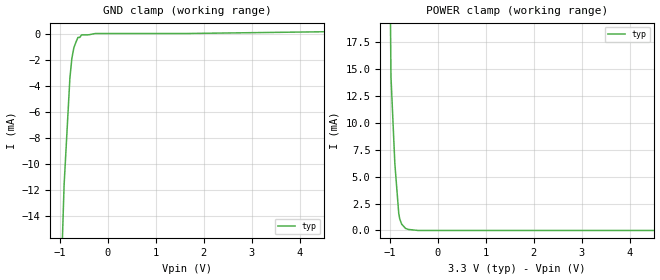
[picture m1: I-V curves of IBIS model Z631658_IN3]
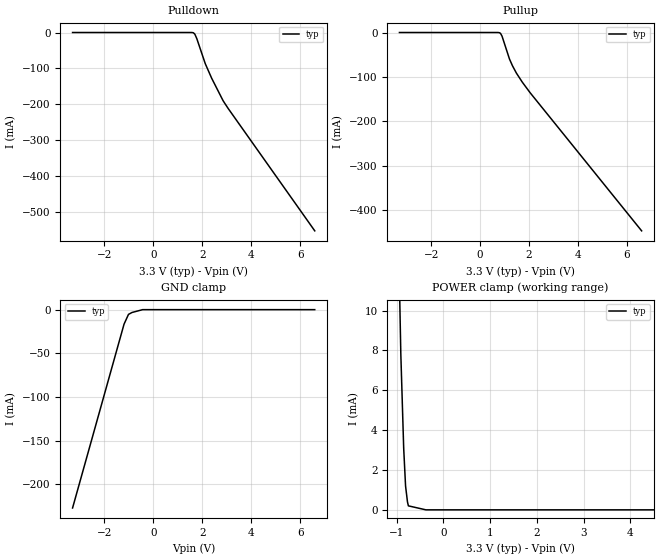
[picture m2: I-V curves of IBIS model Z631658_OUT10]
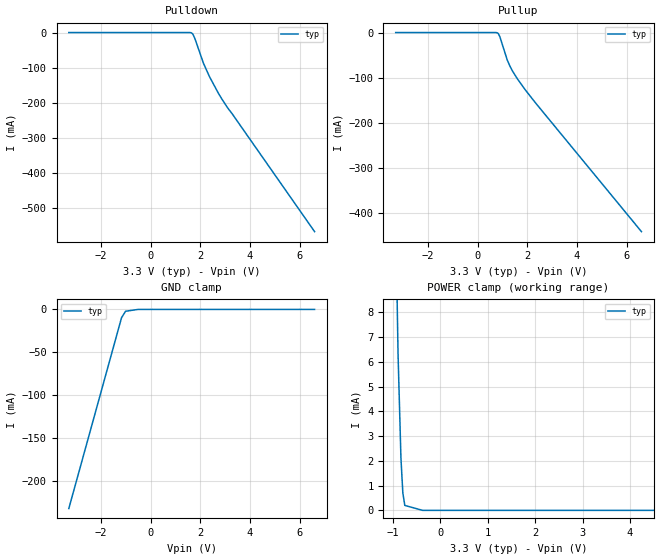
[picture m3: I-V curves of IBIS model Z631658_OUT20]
| YOU ARE ONLY AUTHORIZED TO USE THIS SOFTWARE
| ACCORDING TO LICENSOR'S LICENSE RESTRICTIONS.
[IBIS Ver] 3.1
[File Name] mc100lve210fn_33.ibs
[File Rev] 2.0
[Source] Measured and created by ICX Technology
[Date] Wednesday 11/22/00 2:13:51 PM
[Copyright]
| (C) COPYRIGHT 1993-2000
| MENTOR GRAPHICS CORPORATION
| ICX STANDARD LIBRARY, ICX PROJECT MODELING,
| ICX CUSTOM MODELING, ICX VENDOR MODEL
| ALL RIGHTS RESERVED.
| THE FOLLOWING ARE TRADEMARKS OR SERVICE MARKS OF
| MENTOR GRAPHICS CORPORATION:ICX (R), ICX STANDARD
| LIBRARY(R), ICX PROJECT MODELING(R), ICX CUSTOM
| MODELING(R), qualityIBIS(TM), MODELVIEWER(TM),
| AND MODELEDITOR(TM)
| ALL COPIES OF SOFTWARE, INCLUDING BUT NOT LIMITED TO
| ANY MODIFICATIONS, ENHANCEMENTS OR DERIVATIVE WORKS,
| MUST CONTAIN ALL MENTOR GRAPHICS CORPORATION'S
| NOTICES AND LEGENDS, INCLUDING THOSE EMBEDDED IN
| SOFTWARE AND THOSE AFFIXED TO SOFTWARE MEDIUM
| AND CONTAINER, AS RECEIVED FROM MENTOR GRAPHICS
| CORPORATION.
|  ZAP Model Builder 2.8
[Component] MC100LVE210FN_33
[Manufacturer] OnSemiconductor
[Package]
| variable   typ   min   max
R_pkg  .083ohms NA NA
L_pkg  4.299nH NA NA
C_pkg  1.045pF NA NA
[Pin] signal_name  model_name  R_pin  L_pin C_pin
1 VCC POWER .08 3.94n .925p
2 _CLKA Z631658_IN3 .082 4.14n .995p
3 CLKB Z631658_IN3 .084 4.354n 1.065p
4 _CLKB Z631658_IN3 .086 4.583n 1.135p
5 _QB4 Z631658_OUT10 .086 4.583n 1.135p
6 QB4 Z631658_OUT10 .084 4.354n 1.065p
7 _QB3 Z631658_OUT10 .082 4.14n .995p
8 VCCO POWER .08 3.94n .925p
9 QB3 Z631658_OUT10 .082 4.14n .995p
10 _QB2 Z631658_OUT10 .084 4.354n 1.065p
11 QB2 Z631658_OUT10 .086 4.583n 1.135p
12 _QB1 Z631658_OUT10 .086 4.583n 1.135p
13 QB1 Z631658_OUT10 .084 4.354n 1.065p
14 _QB0 Z631658_OUT10 .082 4.14n .995p
15 VCCO POWER .08 3.94n .925p
16 QB0 Z631658_OUT10 .082 4.14n .995p
17 _QA3 Z631658_OUT20 .084 4.354n 1.065p
18 QA3 Z631658_OUT20 .086 4.583n 1.135p
19 _QA2 Z631658_OUT20 .086 4.583n 1.135p
20 QA2 Z631658_OUT20 .084 4.354n 1.065p
21 _QA1 Z631658_OUT20 .082 4.14n .995p
22 VCCO POWER .08 3.94n .925p
23 QA1 Z631658_OUT20 .082 4.14n .995p
24 _QA0 Z631658_OUT20 .084 4.354n 1.065p
25 QA0 Z631658_OUT20 .086 4.583n 1.135p
26 VEE POWER .086 4.583n 1.135p
27 VBB POWER .084 4.354n 1.065p
28 CLKA Z631658_IN3 .082 4.14n .995p
[Diff Pin] inv_pin vdiff tdelay_typ tdelay_min tdelay_max
11 10 NA .05ns NA .075ns
13 12 NA .05ns NA .075ns
16 14 NA .05ns NA .075ns
18 17 NA .05ns NA .075ns
20 19 NA .05ns NA .075ns
23 21 NA .05ns NA .075ns
25 24 NA .05ns NA .075ns
28 2 500mv NA NA NA
4 3 500mv NA NA NA
6 5 NA .05ns NA .075ns
9 7 NA .05ns NA .075ns
| Models and submodels in the file (3): Z631658_IN3 (Input_ECL), Z631658_OUT10 (Output_ECL), Z631658_OUT20 (Output_ECL)
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| (C) COPYRIGHT 1993-2000
| MENTOR GRAPHICS CORPORATION
| ICX STANDARD LIBRARY, ICX PROJECT MODELING,
| ICX CUSTOM MODELING, ICX VENDOR MODEL
| ALL RIGHTS RESERVED.
| THE FOLLOWING ARE TRADEMARKS OR SERVICE MARKS OF
| MENTOR GRAPHICS CORPORATION:ICX (R), ICX STANDARD
| LIBRARY(R), ICX PROJECT MODELING(R), ICX CUSTOM
| MODELING(R), qualityIBIS(TM), MODELVIEWER(TM),
| AND MODELEDITOR(TM)
| ALL COPIES OF SOFTWARE, INCLUDING BUT NOT LIMITED TO
| ANY MODIFICATIONS, ENHANCEMENTS OR DERIVATIVE WORKS,
| MUST CONTAIN ALL MENTOR GRAPHICS CORPORATION'S
| NOTICES AND LEGENDS, INCLUDING THOSE EMBEDDED IN
| SOFTWARE AND THOSE AFFIXED TO SOFTWARE MEDIUM
| AND CONTAINER, AS RECEIVED FROM MENTOR GRAPHICS
| CORPORATION.
| Model Application Version 1.89 2/18/99.
[Model] Z631658_IN3
Model_type Input_ECL
Vinl = 1.825V
Vinh = 2.135V
C_comp 3.000pF NA NA
| variable typ   min   max
[Voltage Range] 3.300V NA NA
[GND Clamp Reference] 0.000V NA NA
[POWER Clamp Reference] 3.300V NA NA
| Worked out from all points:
|   GND clamp passes 1 mA (typ) near -0.70 V on its own axis
|   POWER clamp passes 1 mA (typ) near -0.79 V on its own axis
[GND Clamp]
-3.3V     -370.8mA   NA         NA
-1.034V   -25.9mA    NA         NA
-912mV    -11.6mA    NA         NA
-791mV    -3.4mA     NA         NA
-750mV    -1.9mA     NA         NA
-709mV    -1.1mA     NA         NA
-669mV    -700uA     NA         NA
-623.3mV  -300uA     NA         NA
-585.2mV  -300uA     NA         NA
-547.2mV  -100uA     NA         NA
-258.5mV  0A         NA         NA
6.6V      233uA      NA         NA
[POWER Clamp]
-3.3V     954.5mA    NA         NA
-1.098V   73.77mA    NA         NA
-977mV    14.28mA    NA         NA
-896mV    6.18mA     NA         NA
-815mV    1.584mA    NA         NA
-795mV    1.085mA    NA         NA
-754mV    586.7uA    NA         NA
-673mV    190.5uA    NA         NA
-612mV    93.33uA    NA         NA
-408mV    0A         NA         NA
6.6V      0A         NA         NA
| (C) COPYRIGHT 1993-2000
| MENTOR GRAPHICS CORPORATION
| ICX STANDARD LIBRARY, ICX PROJECT MODELING,
| ICX CUSTOM MODELING, ICX VENDOR MODEL
| ALL RIGHTS RESERVED.
| THE FOLLOWING ARE TRADEMARKS OR SERVICE MARKS OF
| MENTOR GRAPHICS CORPORATION:ICX (R), ICX STANDARD
| LIBRARY(R), ICX PROJECT MODELING(R), ICX CUSTOM
| MODELING(R), qualityIBIS(TM), MODELVIEWER(TM),
| AND MODELEDITOR(TM)
| ALL COPIES OF SOFTWARE, INCLUDING BUT NOT LIMITED TO
| ANY MODIFICATIONS, ENHANCEMENTS OR DERIVATIVE WORKS,
| MUST CONTAIN ALL MENTOR GRAPHICS CORPORATION'S
| NOTICES AND LEGENDS, INCLUDING THOSE EMBEDDED IN
| SOFTWARE AND THOSE AFFIXED TO SOFTWARE MEDIUM
| AND CONTAINER, AS RECEIVED FROM MENTOR GRAPHICS
| CORPORATION.
| Model Application Version 1.89 2/18/99.
[Model] Z631658_OUT10
Model_type Output_ECL
Vref=1.300V
Rref=50.00ohms
Cref=0.000F
Vmeas=1.977V
C_comp 8.000pF NA NA
| variable typ   min   max
[Voltage Range] 3.300V NA NA
[POWER Clamp Reference] 3.300V NA NA
[Pullup Reference] 3.300V NA NA
[Pulldown Reference] 3.300V NA NA
[GND Clamp Reference] 0.000V NA NA
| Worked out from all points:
|   POWER clamp passes 1 mA (typ) near -0.80 V on its own axis
[GND Clamp]
-3.3V     -226.9mA   NA         NA
-1.196V   -16.63mA   NA         NA
-1.014V   -5.414mA   NA         NA
-872mV    -3.259mA   NA         NA
-436mV    0A         NA         NA
6.6V      0A         NA         NA
[Pulldown]
-3.3V     0A         NA         NA
1.557V    0A         NA         NA
1.618V    -400uA     NA         NA
1.638V    -800uA     NA         NA
1.699V    -4.7mA     NA         NA
1.78V     -17.3mA    NA         NA
2.124V    -86.6mA    NA         NA
2.388V    -127.4mA   NA         NA
2.854V    -189.7mA   NA         NA
3.057V    -210.8mA   NA         NA
6.6V      -551.2mA   NA         NA
[Pullup]
-3.3V     0A         NA         NA
711mV     0A         NA         NA
751mV     -100uA     NA         NA
792mV     -600uA     NA         NA
832mV     -2mA       NA         NA
893mV     -8.1mA     NA         NA
1.197V    -59.6mA    NA         NA
1.318V    -74.7mA    NA         NA
1.481V    -91.5mA    NA         NA
1.724V    -112mA     NA         NA
2.048V    -136.1mA   NA         NA
6.6V      -446.8mA   NA         NA
[POWER Clamp]
-3.3V     521.8mA    NA         NA
-1.033V   22.2mA     NA         NA
-911mV    7.8mA      NA         NA
-850mV    3.1mA      NA         NA
-810mV    1.2mA      NA         NA
-769mV    400uA      NA         NA
-749mV    200uA      NA         NA
-374.5mV  0A         NA         NA
6.6V      0A         NA         NA
[Ramp]
| variable typ min max
dV/dt_r 397.0m/212.4p NA NA
dV/dt_f 397.0m/201.1p NA NA
R_load = 50.00Ohms
| (C) COPYRIGHT 1993-2000
| MENTOR GRAPHICS CORPORATION
| ICX STANDARD LIBRARY, ICX PROJECT MODELING,
| ICX CUSTOM MODELING, ICX VENDOR MODEL
| ALL RIGHTS RESERVED.
| THE FOLLOWING ARE TRADEMARKS OR SERVICE MARKS OF
| MENTOR GRAPHICS CORPORATION:ICX (R), ICX STANDARD
| LIBRARY(R), ICX PROJECT MODELING(R), ICX CUSTOM
| MODELING(R), qualityIBIS(TM), MODELVIEWER(TM),
| AND MODELEDITOR(TM)
| ALL COPIES OF SOFTWARE, INCLUDING BUT NOT LIMITED TO
| ANY MODIFICATIONS, ENHANCEMENTS OR DERIVATIVE WORKS,
| MUST CONTAIN ALL MENTOR GRAPHICS CORPORATION'S
| NOTICES AND LEGENDS, INCLUDING THOSE EMBEDDED IN
| SOFTWARE AND THOSE AFFIXED TO SOFTWARE MEDIUM
| AND CONTAINER, AS RECEIVED FROM MENTOR GRAPHICS
| CORPORATION.
| Model Application Version 1.89 2/18/99.
[Model] Z631658_OUT20
Model_type Output_ECL
Vref=1.300V
Rref=50.00ohms
Cref=0.000F
Vmeas=1.977V
C_comp 8.000pF NA NA
| variable typ   min   max
[Voltage Range] 3.300V NA NA
[POWER Clamp Reference] 3.300V NA NA
[Pullup Reference] 3.300V NA NA
[Pulldown Reference] 3.300V NA NA
[GND Clamp Reference] 0.000V NA NA
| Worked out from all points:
|   POWER clamp passes 1 mA (typ) near -0.80 V on its own axis
[GND Clamp]
-3.3V     -231.7mA   NA         NA
-1.176V   -9.664mA   NA         NA
-1.014V   -2.132mA   NA         NA
-507mV    0A         NA         NA
6.6V      0A         NA         NA
[Pulldown]
-3.3V     0A         NA         NA
1.638V    -800uA     NA         NA
1.699V    -4.6mA     NA         NA
1.78V     -17.4mA    NA         NA
2.124V    -87.6mA    NA         NA
2.367V    -125.6mA   NA         NA
2.874V    -190.3mA   NA         NA
6.6V      -566.7mA   NA         NA
[Pullup]
-3.3V     0A         NA         NA
812mV     -1.3mA     NA         NA
893mV     -8.8mA     NA         NA
1.197V    -61.5mA    NA         NA
1.318V    -76.4mA    NA         NA
1.602V    -102.7mA   NA         NA
1.906V    -126.1mA   NA         NA
2.311V    -154.7mA   NA         NA
6.6V      -441.8mA   NA         NA
[POWER Clamp]
-3.3V     519.2mA    NA         NA
-1.033V   22.4mA     NA         NA
-891mV    6.3mA      NA         NA
-830mV    2.1mA      NA         NA
-790mV    700uA      NA         NA
-749mV    200uA      NA         NA
-374.5mV  0A         NA         NA
6.6V      0A         NA         NA
[Ramp]
| variable typ min max
dV/dt_r 403.2m/184.3p NA NA
dV/dt_f 403.2m/172.8p NA NA
R_load = 50.00Ohms
